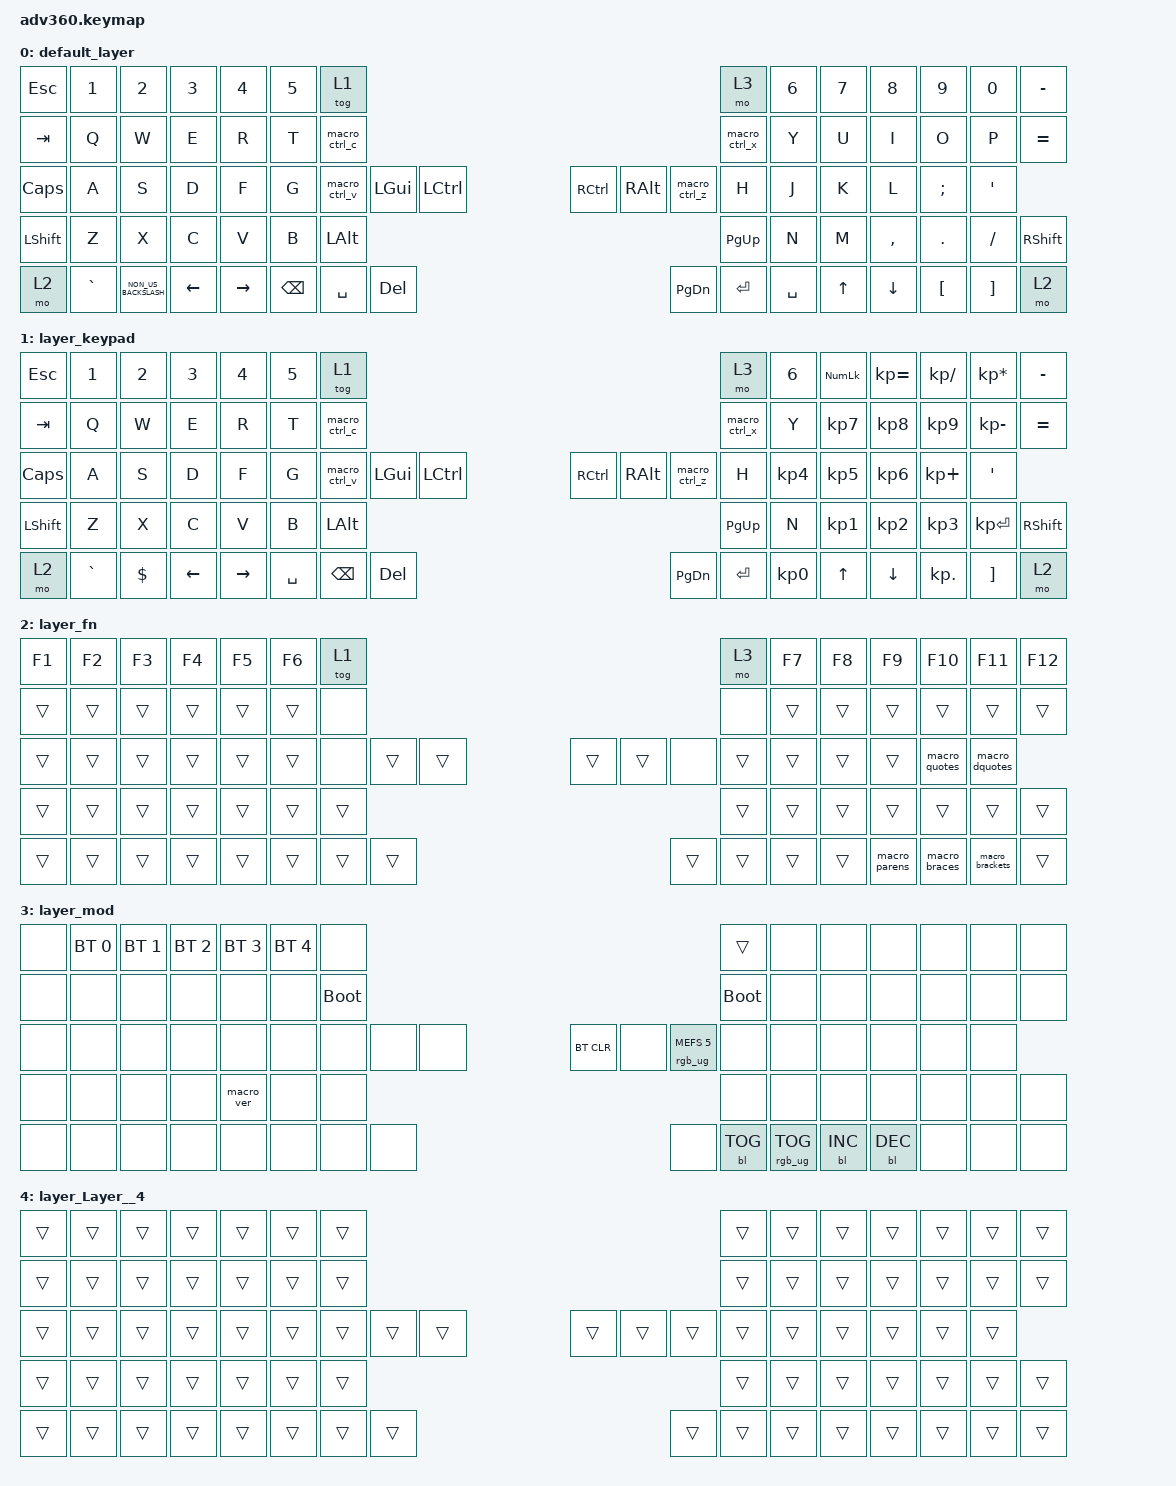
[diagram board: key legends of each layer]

/*
 * Copyright (c) 2020 The ZMK Contributors
 *
 * SPDX-License-Identifier: MIT
 */


/* THIS FILE WAS GENERATED!
 *
 * This file was generated automatically. You may or may not want to
 * edit it directly.
 */

#include <behaviors.dtsi>
#include <dt-bindings/zmk/keys.h>
#include <dt-bindings/zmk/bt.h>
#include <dt-bindings/zmk/rgb.h>
#include <dt-bindings/zmk/backlight.h>

/ {
  behaviors {
    #include "macros.dtsi"
    #include "version.dtsi"

    hm: homerow_mods {
        compatible = "zmk,behavior-hold-tap";
        label = "HOMEROW_MODS";
        #binding-cells = <2>;
        tapping-term-ms = <200>;
        quick_tap_ms = <175>;
        flavor = "tap-preferred";
        bindings = <&kp>, <&kp>;
    };
  };

    keymap {
        compatible = "zmk,keymap";


        default_layer {
            bindings = <
      &kp ESC     &kp N1                &kp N2    &kp N3     &kp N4  &kp N5                   &tog 1                                                                             &mo 3  &kp N6  &kp N7     &kp N8    &kp N9    &kp N0  &kp MINUS
      &kp TAB      &kp Q                 &kp W     &kp E      &kp R   &kp T            &macro_ctrl_c                                                                     &macro_ctrl_x   &kp Y   &kp U      &kp I     &kp O     &kp P  &kp EQUAL
 &kp CAPSLOCK      &kp A                 &kp S     &kp D      &kp F   &kp G            &macro_ctrl_v   &kp LGUI     &kp LCTRL                  &kp RCTRL  &kp RIGHT_ALT  &macro_ctrl_z   &kp H   &kp J      &kp K     &kp L  &kp SEMI    &kp SQT
    &kp LSHFT      &kp Z                 &kp X     &kp C      &kp V   &kp B                                      &kp LEFT_ALT                  &kp PG_UP                                 &kp N   &kp M  &kp COMMA   &kp DOT  &kp FSLH  &kp RSHFT
        &mo 2  &kp GRAVE  &kp NON_US_BACKSLASH  &kp LEFT  &kp RIGHT                         &kp BSPC  &kp SPACE       &kp DEL                  &kp PG_DN      &kp ENTER      &kp SPACE          &kp UP   &kp DOWN  &kp LBKT  &kp RBKT      &mo 2
            >;
        };

        layer_keypad {
            bindings = <
   &kp ESC     &kp N1      &kp N2    &kp N3     &kp N4  &kp N5                   &tog 1                                                                            &mo 3  &kp N6  &kp KP_NUM  &kp KP_EQUAL  &kp KP_DIVIDE  &kp KP_MULTIPLY  &kp MINUS
   &kp TAB      &kp Q       &kp W     &kp E      &kp R   &kp T            &macro_ctrl_c                                                                    &macro_ctrl_x   &kp Y   &kp KP_N7     &kp KP_N8      &kp KP_N9     &kp KP_MINUS  &kp EQUAL
  &kp CAPS      &kp A       &kp S     &kp D      &kp F   &kp G            &macro_ctrl_v  &kp LGUI     &kp LCTRL                  &kp RCTRL  &kp RIGHT_ALT  &macro_ctrl_z   &kp H   &kp KP_N4     &kp KP_N5      &kp KP_N6      &kp KP_PLUS    &kp SQT
 &kp LSHFT      &kp Z       &kp X     &kp C      &kp V   &kp B                                     &kp LEFT_ALT                  &kp PG_UP                                 &kp N   &kp KP_N1     &kp KP_N2      &kp KP_N3     &kp KP_ENTER  &kp RSHFT
     &mo 2  &kp GRAVE  &kp DOLLAR  &kp LEFT  &kp RIGHT                        &kp SPACE  &kp BSPC       &kp DEL                  &kp PG_DN      &kp ENTER      &kp KP_N0              &kp UP      &kp DOWN     &kp KP_DOT         &kp RBKT      &mo 2
            >;
        };

        layer_fn {
            bindings = <
 &kp F1  &kp F2  &kp F3  &kp F4  &kp F5  &kp F6            &tog 1                                                   &mo 3  &kp F7  &kp F8         &kp F9        &kp F10          &kp F11         &kp F12
 &trans  &trans  &trans  &trans  &trans  &trans             &none                                                   &none  &trans  &trans         &trans         &trans           &trans          &trans
 &trans  &trans  &trans  &trans  &trans  &trans             &none  &trans  &trans                  &trans  &trans   &none  &trans  &trans         &trans         &trans    &macro_quotes  &macro_dquotes
 &trans  &trans  &trans  &trans  &trans  &trans                            &trans                  &trans                  &trans  &trans         &trans         &trans           &trans          &trans
 &trans  &trans  &trans  &trans  &trans                    &trans  &trans  &trans                  &trans  &trans  &trans          &trans  &macro_parens  &macro_braces  &macro_brackets          &trans
            >;
        };

        layer_mod {
            bindings = <
  &none  &bt BT_SEL 0  &bt BT_SEL 1  &bt BT_SEL 2  &bt BT_SEL 3  &bt BT_SEL 4                  &none                                                                          &trans   &none       &none       &none   &none   &none   &none
  &none         &none         &none         &none         &none         &none            &bootloader                                                                     &bootloader   &none       &none       &none   &none   &none   &none
  &none         &none         &none         &none         &none         &none                  &none   &none   &none                  &bt BT_CLR       &none  &rgb_ug RGB_MEFS_CMD 5   &none       &none       &none   &none   &none   &none
  &none         &none         &none         &none    &macro_ver         &none                                  &none                       &none                                       &none       &none       &none   &none   &none   &none
  &none         &none         &none         &none         &none                                &none   &none   &none                       &none  &bl BL_TOG         &rgb_ug RGB_TOG          &bl BL_INC  &bl BL_DEC   &none   &none   &none
            >;
        };

        layer_Layer__4 {
            bindings = <
 &trans  &trans  &trans  &trans  &trans  &trans            &trans                                                  &trans  &trans  &trans  &trans  &trans  &trans  &trans
 &trans  &trans  &trans  &trans  &trans  &trans            &trans                                                  &trans  &trans  &trans  &trans  &trans  &trans  &trans
 &trans  &trans  &trans  &trans  &trans  &trans            &trans  &trans  &trans                  &trans  &trans  &trans  &trans  &trans  &trans  &trans  &trans  &trans
 &trans  &trans  &trans  &trans  &trans  &trans                            &trans                  &trans                  &trans  &trans  &trans  &trans  &trans  &trans
 &trans  &trans  &trans  &trans  &trans                    &trans  &trans  &trans                  &trans  &trans  &trans          &trans  &trans  &trans  &trans  &trans
            >;
        };

    };
};
